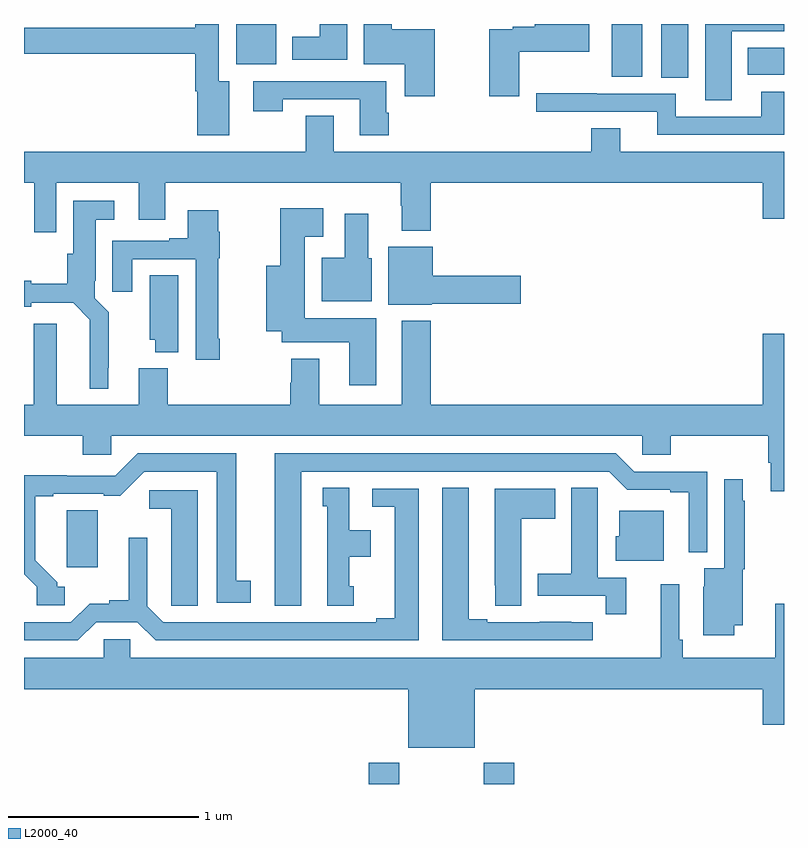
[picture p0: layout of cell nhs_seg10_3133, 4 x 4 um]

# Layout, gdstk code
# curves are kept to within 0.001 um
import gdstk
lib = gdstk.Library(unit=1e-6, precision=1e-09)
def R(c, l, rs):  # rectangles x0, y0, x1, y1
    for r in rs: c.add(gdstk.rectangle(r[:2], r[2:], *l))
def P(c, l, *ps):  # polygons
    for p in ps: c.add(gdstk.Polygon(p, *l))
L2000_40 = (2000, 40)

nhs_seg10_3133 = lib.new_cell('nhs_seg10_3133')
R(nhs_seg10_3133, L2000_40, [(282.815,1282.5,282.975,1282.612), (283.42,1282.5,283.58,1282.612), (284.354,1286.218,284.497,1286.5), (284.093,1286.222,284.254,1286.5), (284.81,1286.234,285,1286.374), (282.116,1286.288,282.328,1286.5)])
P(nhs_seg10_3133, L2000_40, [(283.162,1286.473),(282.935,1286.473),(282.935,1286.5),(282.788,1286.5),(282.788,1286.288),(283.004,1286.288),(283.004,1286.121),(283.162,1286.121)],
  [(282.079,1286.2),(282.025,1286.2),(282.025,1286.5),(281.9,1286.5),(281.9,1286.48),(281,1286.48),(281,1286.344),(281.9,1286.344),(281.9,1286.147),(281.912,1286.147),(281.912,1285.914),(282.079,1285.914)],
  [(283.606,1286.354),(283.975,1286.354),(283.975,1286.5),(283.688,1286.5),(283.688,1286.486),(283.572,1286.486),(283.572,1286.473),(283.448,1286.473),(283.448,1286.121),(283.606,1286.121)],
  [(282.7,1286.5),(282.557,1286.5),(282.557,1286.434),(282.413,1286.434),(282.413,1286.312),(282.7,1286.312)],
  [(284.725,1286.462),(285,1286.462),(285,1286.5),(284.585,1286.5),(284.585,1286.098),(284.725,1286.098)],
  [(282.92,1286.033),(282.907,1286.033),(282.907,1286.199),(282.207,1286.199),(282.207,1286.04),(282.363,1286.04),(282.363,1286.103),(282.767,1286.103),(282.767,1285.914),(282.92,1285.914)],
  [(285,1286.143),(284.879,1286.143),(284.879,1286.013),(284.431,1286.013),(284.431,1286.133),(284.015,1286.133),(284.015,1286.136),(283.695,1286.136),(283.695,1286.037),(284.333,1286.037),(284.333,1285.917),(285,1285.917)],
  [(281.169,1285.664),(281.603,1285.664),(281.603,1285.47),(281.743,1285.47),(281.743,1285.664),(282.982,1285.664),(282.982,1285.544),(282.989,1285.544),(282.989,1285.412),(283.142,1285.412),(283.142,1285.664),(284.888,1285.664),(284.888,1285.476),(285,1285.476),(285,1285.828),(284.137,1285.828),(284.137,1285.952),(283.985,1285.952),(283.985,1285.828),(282.631,1285.828),(282.631,1286.018),(282.484,1286.018),(282.484,1285.828),(281,1285.828),(281,1285.664),(281.053,1285.664),(281.053,1285.404),(281.169,1285.404)],
  [(281.443,1284.691),(281.447,1284.691),(281.447,1284.982),(281.373,1285.056),(281.373,1285.15),(281.377,1285.15),(281.377,1285.469),(281.476,1285.469),(281.476,1285.57),(281.258,1285.57),(281.258,1285.29),(281.228,1285.29),(281.228,1285.133),(281.038,1285.133),(281.038,1285.148),(281,1285.148),(281,1285.012),(281.038,1285.012),(281.038,1285.032),(281.258,1285.032),(281.346,1284.944),(281.345,1284.581),(281.443,1284.581)],
  [(282.853,1284.952),(282.478,1284.952),(282.478,1285.379),(282.574,1285.379),(282.574,1285.531),(282.349,1285.531),(282.349,1285.228),(282.275,1285.228),(282.275,1284.884),(282.356,1284.884),(282.356,1284.824),(282.713,1284.824),(282.713,1284.6),(282.853,1284.6)],
  [(282.03,1284.844),(282.022,1284.844),(282.022,1285.266),(282.03,1285.266),(282.03,1285.406),(282.022,1285.406),(282.022,1285.519),(281.861,1285.519),(281.861,1285.372),(281.765,1285.372),(281.765,1285.359),(281.465,1285.359),(281.465,1285.092),(281.569,1285.092),(281.569,1285.263),(281.903,1285.263),(281.903,1284.732),(282.03,1284.732)],
  [(282.829,1285.266),(282.811,1285.266),(282.811,1285.501),(282.689,1285.501),(282.689,1285.27),(282.566,1285.27),(282.566,1285.04),(282.829,1285.04)],
  [(283.146,1285.028),(283.615,1285.028),(283.615,1285.175),(283.15,1285.175),(283.15,1285.327),(282.917,1285.327),(282.917,1285.022),(283.146,1285.022)],
  [(281.812,1285.178),(281.663,1285.178),(281.663,1284.837),(281.69,1284.837),(281.69,1284.773),(281.812,1284.773)],
  [(285,1284.871),(284.888,1284.871),(284.888,1284.496),(283.142,1284.496),(283.142,1284.937),(282.989,1284.937),(282.989,1284.496),(282.553,1284.496),(282.553,1284.739),(282.406,1284.739),(282.406,1284.612),(282.401,1284.612),(282.401,1284.496),(281.756,1284.496),(281.756,1284.688),(281.603,1284.688),(281.603,1284.496),(281.173,1284.496),(281.173,1284.922),(281.051,1284.922),(281.051,1284.496),(281,1284.496),(281,1284.332),(281.309,1284.332),(281.309,1284.234),(281.46,1284.234),(281.46,1284.332),(284.253,1284.332),(284.253,1284.234),(284.405,1284.234),(284.405,1284.332),(284.918,1284.332),(284.918,1284.19),(284.93,1284.19),(284.93,1284.042),(285,1284.042)],
  [(282.46,1284.144),(284.079,1284.144),(284.175,1284.048),(284.402,1284.048),(284.402,1284.036),(284.498,1284.036),(284.498,1283.72),(284.595,1283.72),(284.595,1284.144),(284.211,1284.144),(284.115,1284.24),(282.32,1284.24),(282.32,1283.439),(282.46,1283.439)],
  [(281.215,1283.538),(281.176,1283.538),(281.176,1283.562),(281.059,1283.678),(281.059,1284.015),(281.155,1284.015),(281.155,1284.027),(281.42,1284.027),(281.42,1284.016),(281.506,1284.016),(281.634,1284.144),(282.014,1284.144),(282.014,1283.454),(282.193,1283.454),(282.193,1283.57),(282.118,1283.57),(282.118,1284.24),(281.598,1284.24),(281.481,1284.123),(281.225,1284.123),(281.225,1284.125),(281,1284.125),(281,1283.605),(281.067,1283.538),(281.067,1283.442),(281.215,1283.442)],
  [(284.737,1283.336),(284.782,1283.336),(284.782,1283.631),(284.794,1283.631),(284.794,1283.99),(284.782,1283.99),(284.782,1284.103),(284.685,1284.103),(284.685,1283.635),(284.579,1283.635),(284.579,1283.538),(284.576,1283.538),(284.576,1283.283),(284.737,1283.283)],
  [(282.736,1283.541),(282.712,1283.541),(282.712,1283.696),(282.826,1283.696),(282.826,1283.836),(282.712,1283.836),(282.712,1284.059),(282.572,1284.059),(282.572,1283.961),(282.596,1283.961),(282.596,1283.439),(282.736,1283.439)],
  [(283.993,1283.352),(283.88,1283.352),(283.88,1283.353),(283.714,1283.353),(283.714,1283.352),(283.438,1283.352),(283.438,1283.367),(283.342,1283.367),(283.342,1284.059),(283.202,1284.059),(283.202,1283.256),(283.993,1283.256)],
  [(284.171,1283.586),(284.02,1283.586),(284.02,1283.948),(284.019,1283.948),(284.019,1284.059),(283.88,1284.059),(283.88,1283.607),(283.703,1283.607),(283.703,1283.49),(284.062,1283.49),(284.062,1283.394),(284.171,1283.394)],
  [(283.618,1283.896),(283.795,1283.896),(283.795,1284.055),(283.478,1284.055),(283.478,1283.545),(283.479,1283.545),(283.479,1283.437),(283.618,1283.437)],
  [(281.379,1283.352),(281.597,1283.352),(281.693,1283.256),(283.078,1283.256),(283.078,1284.054),(282.834,1284.054),(282.834,1283.958),(282.95,1283.958),(282.95,1283.372),(282.854,1283.372),(282.854,1283.352),(281.733,1283.352),(281.649,1283.436),(281.649,1283.797),(281.552,1283.797),(281.552,1283.468),(281.448,1283.468),(281.448,1283.45),(281.345,1283.45),(281.247,1283.352),(281,1283.352),(281,1283.256),(281.283,1283.256)],
  [(281.914,1284.045),(281.658,1284.045),(281.658,1283.948),(281.774,1283.948),(281.774,1283.545),(281.775,1283.545),(281.775,1283.437),(281.914,1283.437)],
  [(281.389,1283.784),(281.388,1283.784),(281.388,1283.942),(281.225,1283.942),(281.225,1283.64),(281.389,1283.64)],
  [(284.368,1283.938),(284.132,1283.938),(284.132,1283.805),(284.114,1283.805),(284.114,1283.675),(284.368,1283.675)],
  [(283.372,1283),(284.888,1283),(284.888,1282.812),(285,1282.812),(285,1283.449),(284.954,1283.449),(284.954,1283.164),(284.468,1283.164),(284.468,1283.26),(284.448,1283.26),(284.448,1283.551),(284.351,1283.551),(284.351,1283.164),(281.559,1283.164),(281.559,1283.262),(281.421,1283.262),(281.421,1283.164),(281,1283.164),(281,1283),(283.022,1283),(283.022,1282.691),(283.372,1282.691)])

lib.write_gds('nhs_seg10_3133.gds')
